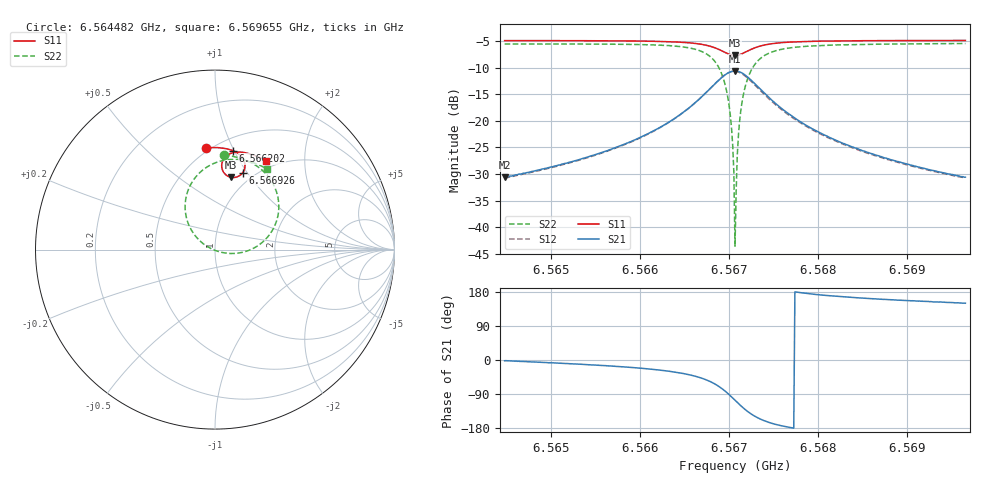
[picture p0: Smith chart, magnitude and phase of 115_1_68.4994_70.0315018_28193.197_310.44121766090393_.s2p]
#  HZ  S  RI  R  50.00
! Rohde & Schwarz Vector Network Analyzer
! Rohde-Schwarz,ZNB20-2Port,1311601062101988,3.16
! Created: UTC 3/20/2024, 4:53:43 PM
! freq[Hz]  re:S11  im:S11  re:S21  im:S21  re:S12  im:S12  re:S22  im:S22
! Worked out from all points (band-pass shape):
!   401 points, 6.564482 GHz to 6.569655 GHz, reference 50 ohm
!   highest |S21| = -10.60 dB at 6.567068 GHz (marker M1); lowest = -30.6 dB at 6.564482 GHz (marker M2)
!   |S21| within 3 dB of the highest: 6.566809 GHz to 6.567327 GHz (517.8 kHz wide, 0.00789 % of centre)
!   lowest |S11| = -7.7 dB at 6.567068 GHz (marker M3), VSWR 2.40, Z = 41.7 + j40.5 ohm
!   |S11| at or under -10 dB: nowhere
!   |S22| runs from -43.6 to -5.4 dB; largest |S21 - S12| = 0.015
!   S11 on the Smith chart (normalised r, x): 6.564482 GHz: 0.47, +0.79; 6.566202 GHz: 0.62, +0.99; 6.566926 GHz: 0.88, +0.95; 6.569655 GHz: 0.89, +1.31
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6.5644818e9  -0.0526 0.567  0.0295 -0.00101  0.029 -0.00148  0.0496 0.5263
6.5653483e9  0.0193 0.5678  0.0432 -0.0087  0.0425 -0.00933  0.1341 0.511
6.5662018e9  0.1012 0.5509  0.076 -0.0372  0.0749 -0.0381  0.2528 0.4508
6.5662147e9  0.1026 0.5502  0.077 -0.0383  0.0757 -0.0391  0.2553 0.4489
6.5667061e9  0.1613 0.4975  0.113 -0.1295  0.1104 -0.1323  0.3537 0.2707
6.5668354e9  0.1668 0.4603  0.1019 -0.1948  0.0967 -0.1985  0.3382 0.1463
6.566926e9  0.1536 0.4272  0.0616 -0.2512  0.0525 -0.2546  0.264 0.0408
6.5670036e9  0.1229 0.405  -0.00814 -0.2862  -0.0207 -0.2854  0.1354 -0.0188
6.5670294e9  0.1093 0.402  -0.037 -0.2895  -0.0503 -0.2864  0.0826 -0.0216
6.5670424e9  0.102 0.4015  -0.0518 -0.289  -0.0652 -0.2847  0.056 -0.019
6.5670553e9  0.0949 0.4019  -0.0669 -0.2869  -0.08 -0.2816  0.0296 -0.0139
6.5670682e9  0.0878 0.4031  -0.0817 -0.2834  -0.0943 -0.277  0.00357 -0.00559
6.5670941e9  0.0742 0.4079  -0.1099 -0.2722  -0.1215 -0.2635  -0.0446 0.018
6.567107e9  0.0678 0.4113  -0.1229 -0.2646  -0.1336 -0.255  -0.0661 0.0331
6.5671199e9  0.0621 0.4153  -0.1348 -0.2559  -0.1447 -0.2455  -0.0857 0.0502
6.5671458e9  0.0523 0.425  -0.1552 -0.2361  -0.1634 -0.2244  -0.1185 0.088
6.5671975e9  0.0401 0.4474  -0.1819 -0.1911  -0.1858 -0.1789  -0.1574 0.1703
6.5672622e9  0.0378 0.4748  -0.1919 -0.1376  -0.192 -0.1266  -0.1651 0.265
6.5675079e9  0.076 0.5302  -0.1471 -0.0288  -0.1437 -0.0244  -0.062 0.4481
6.5679347e9  0.139 0.5434  -0.084 0.00888  -0.082 0.0102  0.0783 0.5015
6.5688011e9  0.2219 0.5244  -0.0408 0.0154  -0.0399 0.0158  0.2097 0.4851
6.5696546e9  0.2859 0.4944  -0.0256 0.0148  -0.0249 0.0148  0.2871 0.4505
